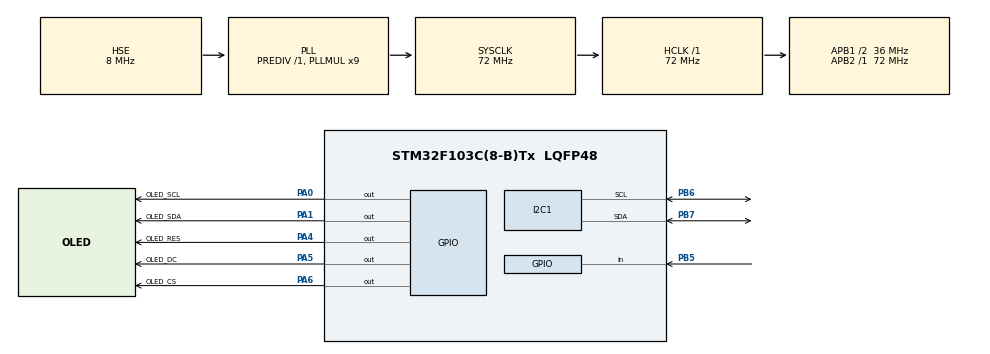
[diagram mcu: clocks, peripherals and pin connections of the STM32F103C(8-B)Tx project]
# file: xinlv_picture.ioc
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I2C1.I2C_Mode=I2C_Standard
Mcu.Family=STM32F1
Mcu.Name=STM32F103C(8-B)Tx
Mcu.Package=LQFP48
NVIC.PriorityGroup=NVIC_PRIORITYGROUP_4
PA0-WKUP.GPIO_Label=OLED_SCL
PA0-WKUP.GPIO_ModeDefaultOutputPP=GPIO_MODE_OUTPUT_PP
PA0-WKUP.GPIO_PuPd=GPIO_PULLUP
PA0-WKUP.GPIO_Speed=GPIO_SPEED_FREQ_HIGH
PA0-WKUP.PinState=GPIO_PIN_SET
PA0-WKUP.Signal=GPIO_Output
PA1.GPIO_Label=OLED_SDA
PA1.GPIO_ModeDefaultOutputPP=GPIO_MODE_OUTPUT_PP
PA1.GPIO_PuPd=GPIO_PULLUP
PA1.GPIO_Speed=GPIO_SPEED_FREQ_HIGH
PA1.PinState=GPIO_PIN_SET
PA1.Signal=GPIO_Output
PA13.Mode=Serial_Wire
PA13.Signal=SYS_JTMS-SWDIO
PA14.Mode=Serial_Wire
PA14.Signal=SYS_JTCK-SWCLK
PA4.GPIO_Label=OLED_RES
PA4.GPIO_ModeDefaultOutputPP=GPIO_MODE_OUTPUT_PP
PA4.GPIO_PuPd=GPIO_PULLUP
PA4.GPIO_Speed=GPIO_SPEED_FREQ_HIGH
PA4.PinState=GPIO_PIN_SET
PA4.Signal=GPIO_Output
PA5.GPIO_Label=OLED_DC
PA5.GPIO_ModeDefaultOutputPP=GPIO_MODE_OUTPUT_PP
PA5.GPIO_PuPd=GPIO_PULLUP
PA5.GPIO_Speed=GPIO_SPEED_FREQ_HIGH
PA5.PinState=GPIO_PIN_SET
PA5.Signal=GPIO_Output
PA6.GPIO_Label=OLED_CS
PA6.GPIO_ModeDefaultOutputPP=GPIO_MODE_OUTPUT_PP
PA6.GPIO_PuPd=GPIO_PULLUP
PA6.GPIO_Speed=GPIO_SPEED_FREQ_HIGH
PA6.PinState=GPIO_PIN_SET
PA6.Signal=GPIO_Output
PB5.Signal=GPIO_Input
PB6.Mode=I2C
PB6.Signal=I2C1_SCL
PB7.Mode=I2C
PB7.Signal=I2C1_SDA
PD0-OSC_IN.Mode=HSE-External-Oscillator
PD0-OSC_IN.Signal=RCC_OSC_IN
PD1-OSC_OUT.Mode=HSE-External-Oscillator
PD1-OSC_OUT.Signal=RCC_OSC_OUT
ProjectManager.HeapSize=0x200
ProjectManager.StackSize=0x400
ProjectManager.TargetToolchain=MDK-ARM V5
RCC.AHBFreq_Value=72000000
RCC.APB1CLKDivider=RCC_HCLK_DIV2
RCC.APB1Freq_Value=36000000
RCC.APB1TimFreq_Value=72000000
RCC.APB2Freq_Value=72000000
RCC.APB2TimFreq_Value=72000000
RCC.HCLKFreq_Value=72000000
RCC.PLLMUL=RCC_PLL_MUL9
RCC.PLLSourceVirtual=RCC_PLLSOURCE_HSE
RCC.SYSCLKFreq_VALUE=72000000
RCC.SYSCLKSource=RCC_SYSCLKSOURCE_PLLCLK
RCC.USBFreq_Value=72000000
board=custom

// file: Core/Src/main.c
/* USER CODE BEGIN Header */
/**
  ******************************************************************************
  * @file           : main.c
  * @brief          : Main program body
  ******************************************************************************
  * @attention
  *
  * Copyright (c) 2025 STMicroelectronics.
  * All rights reserved.
  *
  * This software is licensed under terms that can be found in the LICENSE file
  * in the root directory of this software component.
  * If no LICENSE file comes with this software, it is provided AS-IS.
  *
  ******************************************************************************
  */
/* USER CODE END Header */
#include "main.h"
#include "i2c.h"
#include "gpio.h"

/* USER CODE BEGIN Includes */
#include "oled.h"
#include "max30102.h"
/* USER CODE END Includes */

/* USER CODE BEGIN PV */
// 全局变量
uint32_t redValue, irValue;
uint8_t waveformData[128];
uint8_t dataIndex = 0;
uint32_t heartRate = 0;
uint8_t heartRateValid = 0;
/* USER CODE END PV */

void SystemClock_Config(void);

/* USER CODE BEGIN 0 */
// 简单的心率处理算法
void ProcessHeartRateData(void) {
    static uint32_t lastPeakTime = 0;
    static uint32_t peakInterval = 0;
    static uint8_t peakCount = 0;

    // 寻找峰值
    uint8_t i;
    for(i = 1; i < 127; i++) {
        if(waveformData[i] > waveformData[i-1] &&
           waveformData[i] > waveformData[i+1] &&
           waveformData[i] > 40) { // 阈值过滤
            uint32_t currentTime = HAL_GetTick();
            if(lastPeakTime > 0) {
                peakInterval += (currentTime - lastPeakTime);
                peakCount++;

                if(peakCount >= 3) { // 计算平均心率
                    heartRate = 60000 / (peakInterval / peakCount);
                    heartRateValid = 1;
                    peakInterval = 0;
                    peakCount = 0;
                }
            }
            lastPeakTime = currentTime;
            break;
        }
    }

    // 超时重置
    if(HAL_GetTick() - lastPeakTime > 3000) {
        lastPeakTime = 0;
        peakInterval = 0;
        peakCount = 0;
        heartRateValid = 0;
    }
}
/* USER CODE END 0 */

int main(void)
{

  /* USER CODE BEGIN 1 */
    uint32_t red_value, ir_value;
    uint32_t waveform_data[128];
    uint16_t index = 0;

  /* USER CODE END 1 */

  /* MCU Configuration--------------------------------------------------------*/

  /* Reset of all peripherals, Initializes the Flash interface and the Systick. */
  HAL_Init();

  /* Configure the system clock */
  SystemClock_Config();

  /* Initialize all configured peripherals */
  MX_GPIO_Init();
  MX_I2C1_Init();
  /* USER CODE BEGIN 2 */
	OLED_Init();
	OLED_ColorTurn(0);
  OLED_DisplayTurn(0);
	OLED_Clear();
			OLED_ShowString(1,1,"Close wrist",8,1);
			OLED_Refresh();

    // 初始化MAX30102
		Max30102_Init();
	  Max30102_Safety();
//				OLED_ShowString(1,1,"123",8,1);
//		OLED_Refresh();
	OLED_Clear();
  /* USER CODE END 2 */

  /* Infinite loop */
  while (1)
  {

    /* USER CODE BEGIN 3 */
			  Read();
	}
  /* USER CODE END 3 */
}

void SystemClock_Config(void)
{
  RCC_OscInitTypeDef RCC_OscInitStruct = {0};
  RCC_ClkInitTypeDef RCC_ClkInitStruct = {0};

  /** Initializes the RCC Oscillators according to the specified parameters
  * in the RCC_OscInitTypeDef structure.
  */
  RCC_OscInitStruct.OscillatorType = RCC_OSCILLATORTYPE_HSE;
  RCC_OscInitStruct.HSEState = RCC_HSE_ON;
  RCC_OscInitStruct.HSEPredivValue = RCC_HSE_PREDIV_DIV1;
  RCC_OscInitStruct.HSIState = RCC_HSI_ON;
  RCC_OscInitStruct.PLL.PLLState = RCC_PLL_ON;
  RCC_OscInitStruct.PLL.PLLSource = RCC_PLLSOURCE_HSE;
  RCC_OscInitStruct.PLL.PLLMUL = RCC_PLL_MUL9;
  if (HAL_RCC_OscConfig(&RCC_OscInitStruct) != HAL_OK)
  {
    Error_Handler();
  }

  /** Initializes the CPU, AHB and APB buses clocks
  */
  RCC_ClkInitStruct.ClockType = RCC_CLOCKTYPE_HCLK|RCC_CLOCKTYPE_SYSCLK
                              |RCC_CLOCKTYPE_PCLK1|RCC_CLOCKTYPE_PCLK2;
  RCC_ClkInitStruct.SYSCLKSource = RCC_SYSCLKSOURCE_PLLCLK;
  RCC_ClkInitStruct.AHBCLKDivider = RCC_SYSCLK_DIV1;
  RCC_ClkInitStruct.APB1CLKDivider = RCC_HCLK_DIV2;
  RCC_ClkInitStruct.APB2CLKDivider = RCC_HCLK_DIV1;

  if (HAL_RCC_ClockConfig(&RCC_ClkInitStruct, FLASH_LATENCY_2) != HAL_OK)
  {
    Error_Handler();
  }
}

void Error_Handler(void)
{
  __disable_irq();
  while (1)
  {
  }
}
